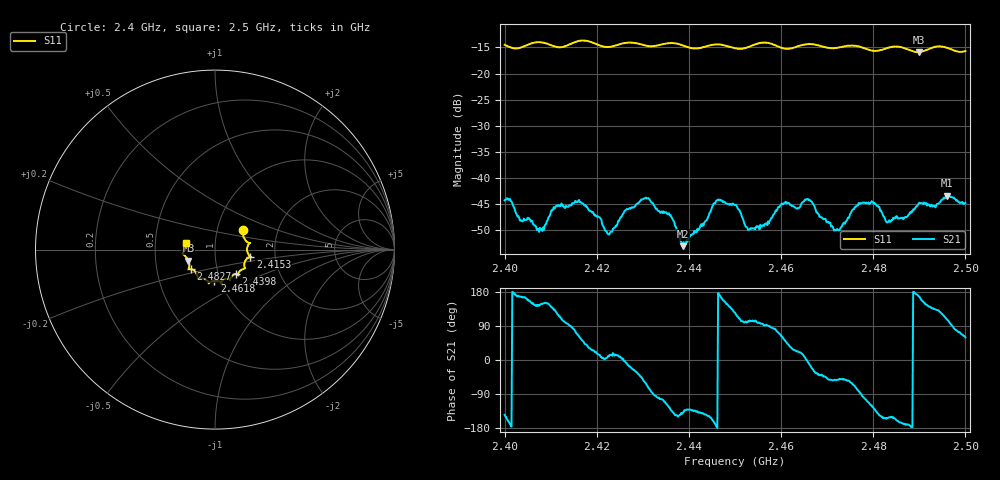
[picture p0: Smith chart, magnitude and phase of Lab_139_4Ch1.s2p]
# Hz S RI R 50
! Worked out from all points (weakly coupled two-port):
!   601 points, 2.4 GHz to 2.5 GHz, reference 50 ohm
!   highest |S21| = -43.38 dB at 2.496 GHz (marker M1); lowest = -53.0 dB at 2.4387 GHz (marker M2)
!   lowest |S11| = -15.9 dB at 2.4898 GHz (marker M3), VSWR 1.38, Z = 36.9 - j4.63 ohm
!   |S11| at or under -10 dB: start of sweep to end of sweep
!   S12 and S22 are empty: the file has one direction only
!   S11 on the Smith chart (normalised r, x): 2.4 GHz: 1.33, +0.29; 2.4153 GHz: 1.48, -0.12; 2.4398 GHz: 1.21, -0.34; 2.4618 GHz: 0.94, -0.33; 2.4827 GHz: 0.75, -0.17; 2.5 GHz: 0.72, +0.06
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2.4e9  0.1553 0.1064  -0.00499 -0.00352  0 0  0 0
2.407667e9  0.196 0.0377  -0.00276 0.00187  0 0  0 0
2.415333e9  0.1966 -0.0392  0.00146 0.00586  0 0  0 0
2.416667e9  0.2024 -0.0432  0.00342 0.00467  0 0  0 0
2.422667e9  0.1643 -0.0724  0.00283 0.000488  0 0  0 0
2.430167e9  0.1511 -0.1111  0.00362 -0.00519  0 0  0 0
2.433333e9  0.1297 -0.134  -0.000827 -0.00477  0 0  0 0
2.436167e9  0.1315 -0.145  -0.00292 -0.00311  0 0  0 0
2.438667e9  0.1248 -0.1377  -0.00167 -0.00147  0 0  0 0
2.439833e9  0.1155 -0.1359  -0.00169 -0.00196  0 0  0 0
2.445833e9  0.0843 -0.1703  -0.00588 -0.000836  0 0  0 0
2.45e9  0.0654 -0.162  -0.00315 0.00451  0 0  0 0
2.453333e9  0.0374 -0.1787  -0.000709 0.00323  0 0  0 0
2.461833e9  -0.0034 -0.173  0.00457 0.00338  0 0  0 0
2.466667e9  -0.0347 -0.1879  0.00551 -0.00218  0 0  0 0
2.472e9  -0.0701 -0.1612  0.00189 -0.00253  0 0  0 0
2.477333e9  -0.0972 -0.1506  2.46e-05 -0.00573  0 0  0 0
2.482667e9  -0.1351 -0.1088  -0.00349 -0.00177  0 0  0 0
2.483333e9  -0.1401 -0.1083  -0.00336 -0.00185  0 0  0 0
2.489833e9  -0.148 -0.0612  -0.00555 0.00117  0 0  0 0
2.496e9  -0.1761 -0.0152  -0.00203 0.00646  0 0  0 0
2.5e9  -0.1594 0.0387  0.00291 0.00497  0 0  0 0
